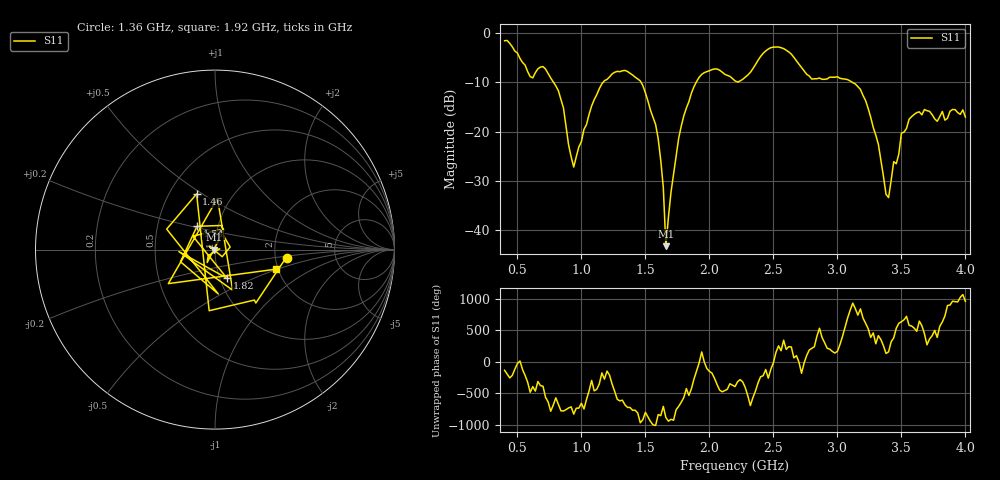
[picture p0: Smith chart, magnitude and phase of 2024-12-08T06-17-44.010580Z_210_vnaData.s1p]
!Created with skrf (http://scikit-rf.org).
# Hz S RI R 50.0
!freq ReS11 ImS11
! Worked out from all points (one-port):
!   181 points, 400 MHz to 4 GHz, reference 50 ohm
!   lowest |S11| = -43.3 dB at 1.66 GHz (marker M1), VSWR 1.01, Z = 49.3 - j0.122 ohm
!   |S11| at or under -10 dB: 781.8 MHz to 1.17 GHz (387.8 MHz wide, 39.7 % of centre); 1.466 GHz to 1.897 GHz (431.2 MHz wide, 25.6 % of centre); 3.116 GHz to end of sweep
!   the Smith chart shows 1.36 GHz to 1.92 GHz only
!   S11 on the Smith chart (normalised r, x): 1.36 GHz: 2.33, -0.27; 1.46 GHz: 0.68, +0.47; 1.54 GHz: 0.79, +0.21; 1.82 GHz: 1.08, -0.36; 1.92 GHz: 1.94, -0.49
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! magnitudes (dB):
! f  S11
! 400 MHz  -1.6
! 600 MHz  -8.9
! 720 MHz  -7.3
! 860 MHz  -15.2
! 940 MHz  -27.2
! 1.14 GHz  -11.3
! 1.3 GHz  -7.8
! 1.36 GHz  -7.8
! 1.46 GHz  -9.7
! 1.54 GHz  -15.7
! 1.58 GHz  -18.6
! 1.62 GHz  -25.9
! 1.64 GHz  -31.4
! 1.66 GHz  -43.3
! 1.7 GHz  -32.3
! 1.76 GHz  -21.4
! 1.82 GHz  -15.2
! 1.92 GHz  -9.0
! 2.2 GHz  -9.7
! 2.48 GHz  -3.0
! 2.66 GHz  -4.9
! 2.8 GHz  -9.3
! 3.1 GHz  -9.7
! 3.24 GHz  -15.3
! 3.4 GHz  -33.4
! 3.44 GHz  -26.1
! 3.56 GHz  -17.5
! 4 GHz  -17.1
